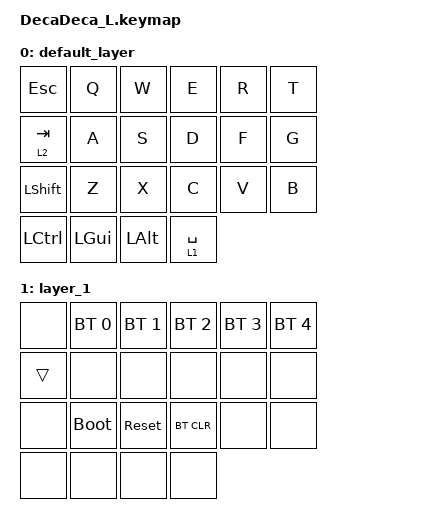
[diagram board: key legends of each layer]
#include <behaviors.dtsi>
#include <dt-bindings/zmk/bt.h>
#include <dt-bindings/zmk/keys.h>

/ {
    keymap {
        compatible = "zmk,keymap";

        default_layer {
            bindings = <
&kp ESC    &kp Q     &kp W     &kp E        &kp R  &kp T
&lt 2 TAB  &kp A     &kp S     &kp D        &kp F  &kp G
&kp LSHFT  &kp Z     &kp X     &kp C        &kp V  &kp B
&kp LCTRL  &kp LGUI  &kp LALT  &lt 1 SPACE
            >;
        };

        layer_1 {
            bindings = <
&none   &bt BT_SEL 0  &bt BT_SEL 1  &bt BT_SEL 2  &bt BT_SEL 3  &bt BT_SEL 4
&trans  &none         &none         &none         &none         &none
&none   &bootloader   &sys_reset    &bt BT_CLR    &none         &none
&none   &none         &none         &none
            >;
        };
    };
};
